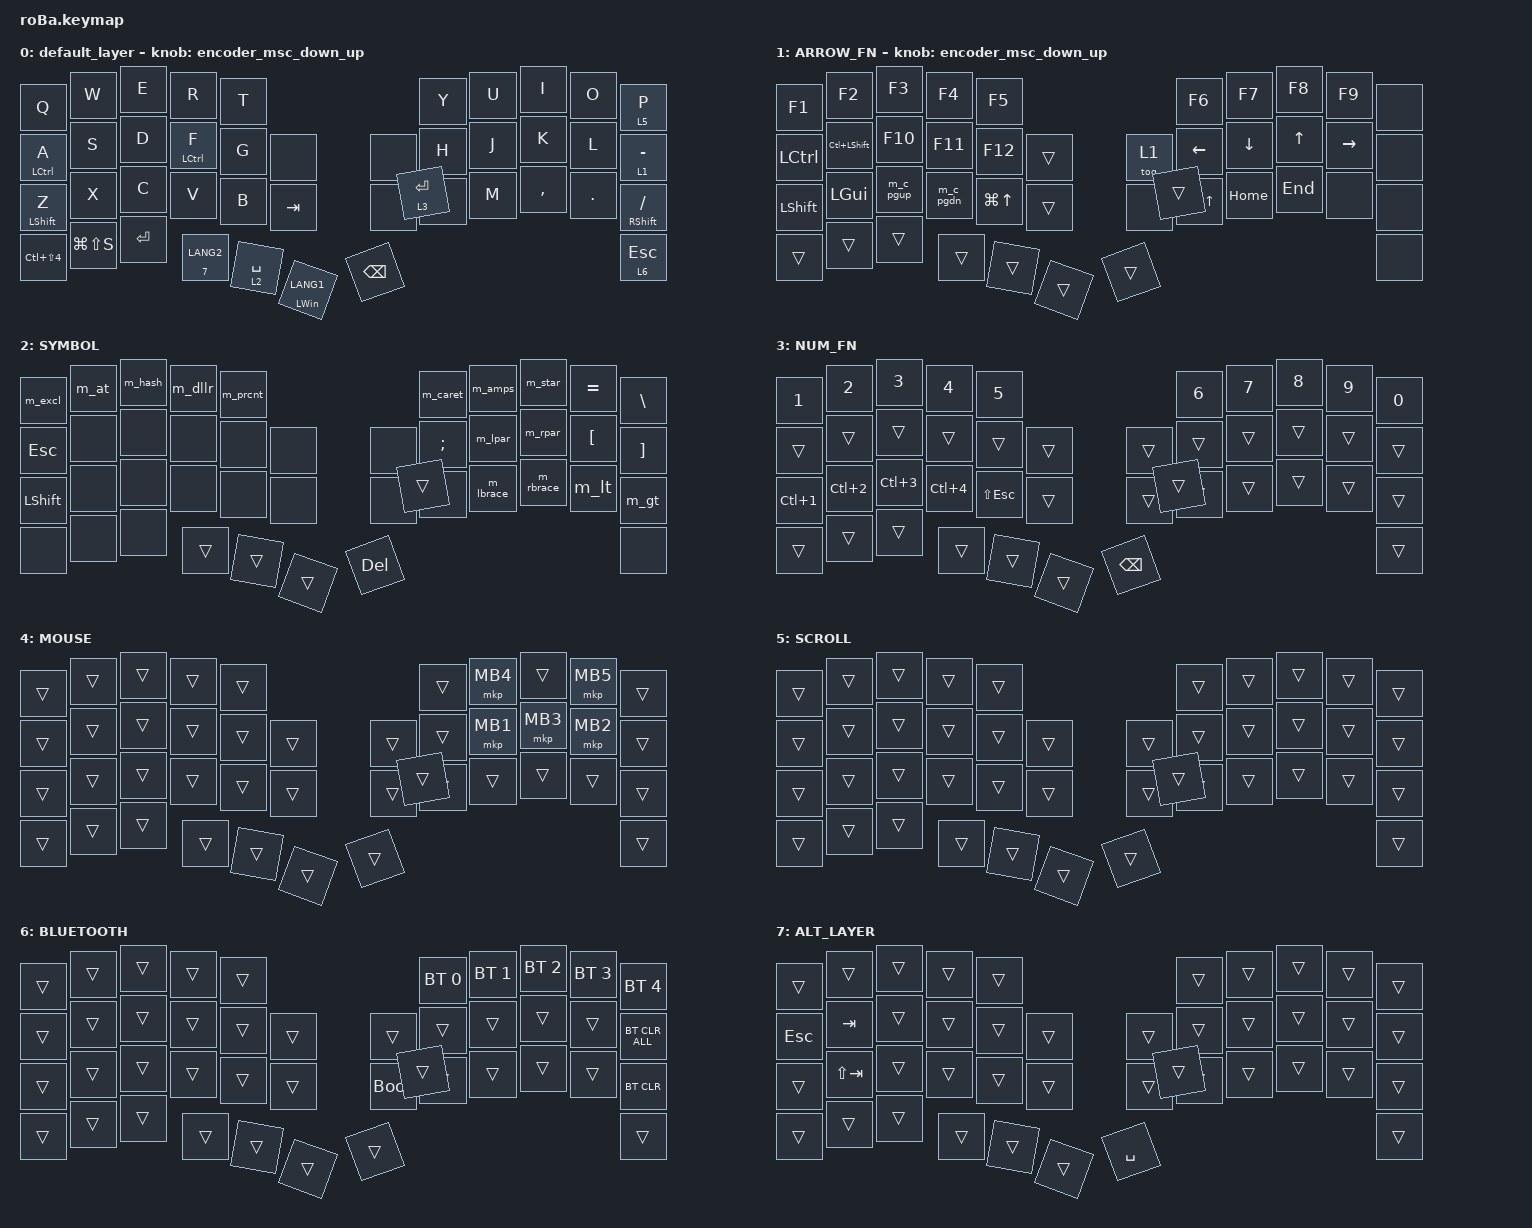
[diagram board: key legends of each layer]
/*
 * roBa キーマップ設定
 * - レイヤー定義
 * - コンボ
 * - マクロ
 */

#define ZMK_POINTING_DEFAULT_SCRL_VAL 80

#include <behaviors.dtsi>
#include <dt-bindings/zmk/bt.h>
#include <dt-bindings/zmk/keys.h>
#include <dt-bindings/zmk/pointing.h>

&mt {
    flavor = "balanced";
    quick-tap-ms = <0>;
    tapping-term-ms = <180>;
};

&trackball { scroll-layers = <5>; };

&caps_word { continue-list = <UNDERSCORE MINUS BACKSPACE DELETE SPACE>; };

/ {
    combos {
        compatible = "zmk,combos";

        tab {
            bindings = <&kp TAB>;
            key-positions = <12 13>;
        };

        eq {
            bindings = <&kp EQUAL>;
            key-positions = <18 19>;
        };

        tilde {
            bindings = <&kp GRAVE>;
            key-positions = <6 7>;
        };

        bq {
            bindings = <&kp BACKSLASH>;
            key-positions = <30 31>;
        };

        layout_shift_on {
            bindings = <&tog_ls_on>;
            key-positions = <9 21>;
        };

        layout_shift_off {
            bindings = <&tog_ls_off>;
            key-positions = <21 33>;
        };

        esc {
            bindings = <&kp ESCAPE>;
            key-positions = <0 1>;
        };
    };

    macros {
        to_layer_0: to_layer_0 {
            compatible = "zmk,behavior-macro-one-param";
            #binding-cells = <1>;
            bindings = <&to 0 &macro_param_1to1 &kp MACRO_PLACEHOLDER>;
            label = "TO_LAYER_0";
        };

        // Shifted symbols for Remote Desktop compatibility

        m_excl: m_excl {
            compatible = "zmk,behavior-macro";
            #binding-cells = <0>;
            bindings =
                <&macro_press>,
                <&kp LSHFT>,
                <&macro_tap>,
                <&kp N1>,
                <&macro_release>,
                <&kp LSHFT>;
        };

        m_at: m_at {
            compatible = "zmk,behavior-macro";
            #binding-cells = <0>;
            bindings =
                <&macro_press>,
                <&kp LSHFT>,
                <&macro_tap>,
                <&kp N2>,
                <&macro_release>,
                <&kp LSHFT>;
        };

        m_hash: m_hash {
            compatible = "zmk,behavior-macro";
            #binding-cells = <0>;
            bindings =
                <&macro_press>,
                <&kp LSHFT>,
                <&macro_tap>,
                <&kp N3>,
                <&macro_release>,
                <&kp LSHFT>;
        };

        m_dllr: m_dllr {
            compatible = "zmk,behavior-macro";
            #binding-cells = <0>;
            bindings =
                <&macro_press>,
                <&kp LSHFT>,
                <&macro_tap>,
                <&kp N4>,
                <&macro_release>,
                <&kp LSHFT>;
        };

        m_prcnt: m_prcnt {
            compatible = "zmk,behavior-macro";
            #binding-cells = <0>;
            bindings =
                <&macro_press>,
                <&kp LSHFT>,
                <&macro_tap>,
                <&kp N5>,
                <&macro_release>,
                <&kp LSHFT>;
        };

        m_caret: m_caret {
            compatible = "zmk,behavior-macro";
            #binding-cells = <0>;
            bindings =
                <&macro_press>,
                <&kp LSHFT>,
                <&macro_tap>,
                <&kp N6>,
                <&macro_release>,
                <&kp LSHFT>;
        };

        m_amps: m_amps {
            compatible = "zmk,behavior-macro";
            #binding-cells = <0>;
            bindings =
                <&macro_press>,
                <&kp LSHFT>,
                <&macro_tap>,
                <&kp N7>,
                <&macro_release>,
                <&kp LSHFT>;
        };

        m_star: m_star {
            compatible = "zmk,behavior-macro";
            #binding-cells = <0>;
            bindings =
                <&macro_press>,
                <&kp LSHFT>,
                <&macro_tap>,
                <&kp N8>,
                <&macro_release>,
                <&kp LSHFT>;
        };

        m_lpar: m_lpar {
            compatible = "zmk,behavior-macro";
            #binding-cells = <0>;
            bindings =
                <&macro_press>,
                <&kp LSHFT>,
                <&macro_tap>,
                <&kp N9>,
                <&macro_release>,
                <&kp LSHFT>;
        };

        m_rpar: m_rpar {
            compatible = "zmk,behavior-macro";
            #binding-cells = <0>;
            bindings =
                <&macro_press>,
                <&kp LSHFT>,
                <&macro_tap>,
                <&kp N0>,
                <&macro_release>,
                <&kp LSHFT>;
        };

        m_lbrace: m_lbrace {
            compatible = "zmk,behavior-macro";
            #binding-cells = <0>;
            bindings =
                <&macro_press>,
                <&kp LSHFT>,
                <&macro_tap>,
                <&kp LBKT>,
                <&macro_release>,
                <&kp LSHFT>;
        };

        m_rbrace: m_rbrace {
            compatible = "zmk,behavior-macro";
            #binding-cells = <0>;
            bindings =
                <&macro_press>,
                <&kp LSHFT>,
                <&macro_tap>,
                <&kp RBKT>,
                <&macro_release>,
                <&kp LSHFT>;
        };

        m_dqt: m_dqt {
            compatible = "zmk,behavior-macro";
            #binding-cells = <0>;
            bindings =
                <&macro_press>,
                <&kp LSHFT>,
                <&macro_tap>,
                <&kp SQT>,
                <&macro_release>,
                <&kp LSHFT>;
        };

        m_colon: m_colon {
            compatible = "zmk,behavior-macro";
            #binding-cells = <0>;
            bindings =
                <&macro_press>,
                <&kp LSHFT>,
                <&macro_tap>,
                <&kp SEMICOLON>,
                <&macro_release>,
                <&kp LSHFT>;
        };

        m_lt: m_lt {
            compatible = "zmk,behavior-macro";
            #binding-cells = <0>;
            bindings =
                <&macro_press>,
                <&kp LSHFT>,
                <&macro_tap>,
                <&kp COMMA>,
                <&macro_release>,
                <&kp LSHFT>;
        };

        m_gt: m_gt {
            compatible = "zmk,behavior-macro";
            #binding-cells = <0>;
            bindings =
                <&macro_press>,
                <&kp LSHFT>,
                <&macro_tap>,
                <&kp PERIOD>,
                <&macro_release>,
                <&kp LSHFT>;
        };

        m_crlf: m_crlf {
            compatible = "zmk,behavior-macro";
            #binding-cells = <0>;
            bindings = <&macro_tap>, <&kp BACKSLASH &kp R &kp BACKSLASH &kp N>;
        };

        m_lf: m_lf {
            compatible = "zmk,behavior-macro";
            #binding-cells = <0>;
            bindings = <&macro_tap>, <&kp BACKSLASH &kp N>;
        };

        m_c_pgup: m_c_pgup {
            compatible = "zmk,behavior-macro";
            #binding-cells = <0>;
            wait-ms = <0>;
            tap-ms = <0>;
            bindings =
                <&macro_press>,
                <&kp LCTRL>,
                <&macro_tap>,
                <&kp PAGE_UP>,
                <&macro_release>,
                <&kp LCTRL>;
        };

        m_c_pgdn: m_c_pgdn {
            compatible = "zmk,behavior-macro";
            #binding-cells = <0>;
            wait-ms = <0>;
            tap-ms = <0>;
            bindings =
                <&macro_press>,
                <&kp LCTRL>,
                <&macro_tap>,
                <&kp PAGE_DOWN>,
                <&macro_release>,
                <&kp LCTRL>;
        };

        // Layer-mod: holds LALT + activates specified layer

        lm: lm {
            compatible = "zmk,behavior-macro-one-param";
            #binding-cells = <1>;
            wait-ms = <0>;
            tap-ms = <0>;
            bindings =
                <&macro_press>,
                <&kp LALT &macro_param_1to1>,
                <&macro_press>,
                <&mo MACRO_PLACEHOLDER>,
                <&macro_pause_for_release>,
                <&macro_param_1to1>,
                <&macro_release>,
                <&mo MACRO_PLACEHOLDER>,
                <&macro_release>,
                <&kp LALT>;
        };
    };

    behaviors {
        // Keep the original key_press behavior for ZMK core components

        original_key_press: original_key_press {
            compatible = "zmk,behavior-key-press";
            #binding-cells = <1>;
            label = "KEY_PRESS";
        };

        // Override &kp for layout shift (Keymap Editor compatible)

        kp: key_press {
            compatible = "zmk,behavior-layout-shift-key-press";
            #binding-cells = <1>;
            label = "LAYOUT_SHIFT_KEY_PRESS";
        };

        tog_ls: toggle_layout_shift {
            compatible = "zmk,behavior-layout-shift-toggle";
            #binding-cells = <0>;
            toggle-mode = "flip";
            label = "LAYOUT_SHIFT_TOGGLE";
        };

        tog_ls_on: toggle_layout_shift_on {
            compatible = "zmk,behavior-layout-shift-toggle";
            #binding-cells = <0>;
            toggle-mode = "on";
            label = "LAYOUT_SHIFT_TOGGLE_ON";
        };

        tog_ls_off: toggle_layout_shift_off {
            compatible = "zmk,behavior-layout-shift-toggle";
            #binding-cells = <0>;
            toggle-mode = "off";
            label = "LAYOUT_SHIFT_TOGGLE_OFF";
        };

        lt_to_layer_0: lt_to_layer_0 {
            compatible = "zmk,behavior-hold-tap";
            label = "LAYER_TAP_TO_0";
            bindings = <&mo>, <&to_layer_0>;

            #binding-cells = <2>;
            tapping-term-ms = <180>;
            flavor = "hold-preferred";
        };

        encoder_msc_down_up: encoder_msc_down_up {
            compatible = "zmk,behavior-sensor-rotate";
            label = "ENCODER_MSC_DOWN_UP";
            #sensor-binding-cells = <0>;
            bindings = <&msc SCRL_UP>, <&msc SCRL_DOWN>;

            tap-ms = <20>;
        };

        // Hold: ALT + layer, Tap: key

        alt_lt: alt_lt {
            compatible = "zmk,behavior-hold-tap";
            label = "ALT_LAYER_TAP";
            #binding-cells = <2>;
            tapping-term-ms = <180>;
            flavor = "balanced";
            bindings = <&lm>, <&kp>;
        };

        // Layer-tap with quick-tap: tap then hold to auto-repeat the key

        lt_rep: lt_rep {
            compatible = "zmk,behavior-hold-tap";
            label = "LAYER_TAP_REPEAT";
            #binding-cells = <2>;
            tapping-term-ms = <200>;
            quick-tap-ms = <150>;
            flavor = "tap-preferred";
            bindings = <&mo>, <&kp>;
        };
    };

    keymap {
        compatible = "zmk,keymap";

        default_layer {
            bindings = <
&kp Q             &kp W          &kp E      &kp R               &kp T                                                   &kp Y            &kp U  &kp I      &kp O    &lt 5 P
&mt LCTRL A       &kp S          &kp D      &mt LEFT_CONTROL F  &kp G            &none                   &none          &kp H            &kp J  &kp K      &kp L    &lt 1 MINUS
&mt LEFT_SHIFT Z  &kp X          &kp C      &kp V               &kp B            &kp TAB                 &none          &kp N            &kp M  &kp COMMA  &kp DOT  &mt RIGHT_SHIFT SLASH
&kp LC(LS(N4))    &kp LG(LS(S))  &kp ENTER  &alt_lt 7 LANG2     &lt_rep 2 SPACE  &mt LEFT_WIN LANG1      &kp BACKSPACE  &lt_rep 3 ENTER                             &lt 6 ESC
            >;

            sensor-bindings = <&encoder_msc_down_up>;
        };

        ARROW_FN {
            bindings = <
&kp F1            &kp F2              &kp F3     &kp F4     &kp F5                                &kp F6            &kp F7          &kp F8        &kp F9           &none
&kp LEFT_CONTROL  &kp LC(LEFT_SHIFT)  &kp F10    &kp F11    &kp F12           &trans      &tog 1  &kp LEFT_ARROW    &kp DOWN_ARROW  &kp UP_ARROW  &kp RIGHT_ARROW  &none
&kp LEFT_SHIFT    &kp LEFT_GUI        &m_c_pgup  &m_c_pgdn  &kp LG(UP_ARROW)  &trans      &none   &kp RG(UP_ARROW)  &kp HOME        &kp END       &none            &none
&trans            &trans              &trans     &trans     &trans            &trans      &trans  &trans                                                           &none
            >;

            sensor-bindings = <&encoder_msc_down_up>;
        };

        SYMBOL {
            bindings = <
&m_excl         &m_at  &m_hash  &m_dllr  &m_prcnt                       &m_caret          &m_amps    &m_star    &kp EQUAL         &kp BACKSLASH
&kp ESC         &none  &none    &none    &none     &none       &none    &kp SEMICOLON     &m_lpar    &m_rpar    &kp LEFT_BRACKET  &kp RIGHT_BRACKET
&kp LEFT_SHIFT  &none  &none    &none    &none     &none       &none    &kp SINGLE_QUOTE  &m_lbrace  &m_rbrace  &m_lt             &m_gt
&none           &none  &none    &trans   &trans    &trans      &kp DEL  &trans                                                    &none
            >;
        };

        NUM_FN {
            bindings = <
&kp N1            &kp N2            &kp N3            &kp N4            &kp N5                                     &kp N6  &kp N7  &kp N8  &kp N9  &kp N0
&trans            &trans            &trans            &trans            &trans          &trans      &trans         &trans  &trans  &trans  &trans  &trans
&kp LC(NUMBER_1)  &kp LC(NUMBER_2)  &kp LC(NUMBER_3)  &kp LC(NUMBER_4)  &kp LS(ESCAPE)  &trans      &trans         &trans  &trans  &trans  &trans  &trans
&trans            &trans            &trans            &trans            &trans          &trans      &kp BACKSPACE  &trans                          &trans
            >;
        };

        MOUSE {
            bindings = <
&trans  &trans  &trans  &trans  &trans                      &trans  &mkp MB4  &trans    &mkp MB5  &trans
&trans  &trans  &trans  &trans  &trans  &trans      &trans  &trans  &mkp MB1  &mkp MB3  &mkp MB2  &trans
&trans  &trans  &trans  &trans  &trans  &trans      &trans  &trans  &trans    &trans    &trans    &trans
&trans  &trans  &trans  &trans  &trans  &trans      &trans  &trans                                &trans
            >;
        };

        SCROLL {
            bindings = <
&trans  &trans  &trans  &trans  &trans                      &trans  &trans  &trans  &trans  &trans
&trans  &trans  &trans  &trans  &trans  &trans      &trans  &trans  &trans  &trans  &trans  &trans
&trans  &trans  &trans  &trans  &trans  &trans      &trans  &trans  &trans  &trans  &trans  &trans
&trans  &trans  &trans  &trans  &trans  &trans      &trans  &trans                          &trans
            >;
        };

        BLUETOOTH {
            bindings = <
&trans  &trans  &trans  &trans  &trans                           &bt BT_SEL 0  &bt BT_SEL 1  &bt BT_SEL 2  &bt BT_SEL 3  &bt BT_SEL 4
&trans  &trans  &trans  &trans  &trans  &trans      &trans       &trans        &trans        &trans        &trans        &bt BT_CLR_ALL
&trans  &trans  &trans  &trans  &trans  &trans      &bootloader  &trans        &trans        &trans        &trans        &bt BT_CLR
&trans  &trans  &trans  &trans  &trans  &trans      &trans       &trans                                                  &trans
            >;
        };

        ALT_LAYER {
            bindings = <
&trans       &trans       &trans  &trans  &trans                         &trans  &trans  &trans  &trans  &trans
&kp ESC      &kp TAB      &trans  &trans  &trans  &trans      &trans     &trans  &trans  &trans  &trans  &trans
&trans       &kp LS(TAB)  &trans  &trans  &trans  &trans      &trans     &trans  &trans  &trans  &trans  &trans
&trans       &trans       &trans  &trans  &trans  &trans      &kp SPACE  &trans                          &trans
            >;
        };
    };
};
